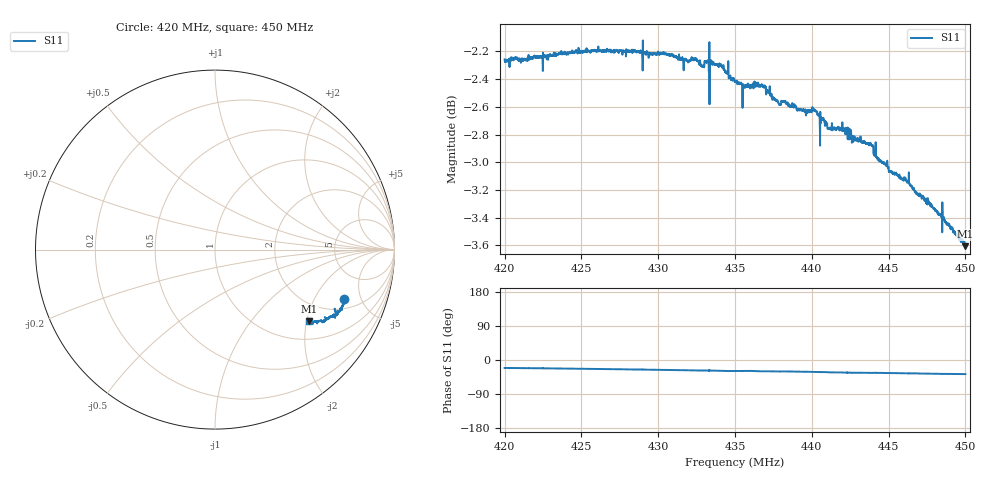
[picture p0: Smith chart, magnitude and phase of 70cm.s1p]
! Calibrated averaged scanner-service zoom
# Hz S RI R 50
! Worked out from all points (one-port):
!   3001 points, 420 MHz to 450 MHz, reference 50 ohm
!   lowest |S11| = -3.6 dB at 450 MHz (marker M1), VSWR 4.89, Z = 73.3 - j104 ohm
!   |S11| at or under -10 dB: nowhere
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4.2e8  0.7196 -0.2772
4.2375e8  0.7158 -0.2967
4.275e8  0.707 -0.3219
4.3125e8  0.6899 -0.3463
4.3239e8  0.6848 -0.3541
4.3285e8  0.6782 -0.3579
4.3313e8  0.6803 -0.359
4.3385e8  0.6763 -0.3632
4.3443e8  0.6679 -0.3688
4.35e8  0.6601 -0.371
4.3543e8  0.6614 -0.3652
4.3597e8  0.6601 -0.3639
4.3661e8  0.655 -0.3745
4.3713e8  0.6519 -0.374
4.3785e8  0.642 -0.3746
4.3816e8  0.6436 -0.3745
4.3875e8  0.6391 -0.3789
4.3985e8  0.6327 -0.3825
4.4015e8  0.6306 -0.3865
4.4085e8  0.6192 -0.388
4.4115e8  0.6131 -0.3924
4.4184e8  0.6103 -0.3973
4.425e8  0.6027 -0.3974
4.4379e8  0.5966 -0.4018
4.4432e8  0.5884 -0.3966
4.4625e8  0.5698 -0.4007
4.4845e8  0.5437 -0.4032
4.5e8  0.5256 -0.3997
